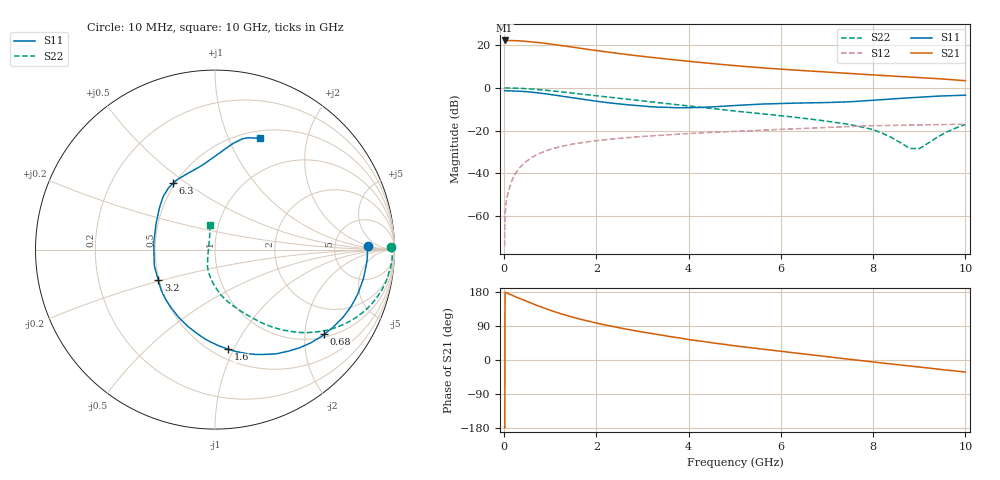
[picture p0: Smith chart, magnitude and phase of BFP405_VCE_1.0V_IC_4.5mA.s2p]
! (c) 2016  Infineon Technologies AG, Munich
! Infineon Technologies  Discrete & RF Semiconductors
! BFP405
! VCE =  1.0 V,  IC =  4.5 mA
! Common Emitter S-Parameters:  Jan 2016
# GHz  S  MA  R  50
!  f  S11  S21  S12  S22
! GHz  MAG  ANG  MAG  ANG  MAG  ANG  MAG  ANG
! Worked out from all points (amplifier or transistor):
!   233 points, 10 MHz to 10 GHz, reference 50 ohm
!   highest |S21| = 22.1 dB at 10 MHz (marker M1)
!   |S21| within 3 dB of that: start of sweep to 1.443 GHz
!   unconditionally stable (mu >= 1): start of sweep to 12.62 MHz; 3.383 GHz to end of sweep
!   at 200 MHz: K = 0.08, MSG = 31.9 dB, |S12| = -41.8 dB
!   at 1.74 GHz: K = 0.54, MSG = 21.8 dB, |S12| = -25.4 dB
!   at 10 GHz: K = 1.50, MAG = 6.0 dB, |S12| = -17.1 dB
!   S11 on the Smith chart (normalised r, x): 10 MHz: 12, +2; 680 MHz: 1.08, -2.51; 1.6 GHz: 0.59, -0.95; 3.2 GHz: 0.49, -0.19; 6.3 GHz: 0.49, +0.45; 10 GHz: 0.58, +1.31
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0.01  0.8505 1.3  12.69 -177.2  0.0002 43.4  0.9832 0.8
0.02  0.8497 -1.0  12.63 178.7  0.001 98.2  0.986 -0.3
0.055  0.8495 -3.4  12.59 177.4  0.0026 93.1  0.9883 -1.4
0.135  0.8453 -7.6  12.63 172.9  0.0055 86.1  0.9865 -4.0
0.26  0.8355 -14.8  12.56 166.2  0.0105 82.3  0.9758 -8.0
0.4  0.8212 -22.8  12.29 159.0  0.016 78.7  0.9631 -12.0
0.68  0.7703 -37.8  11.52 145.4  0.0262 70.9  0.9187 -19.9
0.9  0.7219 -49.3  10.85 135.3  0.0333 65.6  0.8748 -25.4
1.1  0.6742 -59.4  10.16 127.1  0.0391 61.2  0.832 -29.9
1.6  0.5588 -82.7  8.505 109.3  0.0507 52.3  0.7252 -39.3
1.68  0.5434 -86.1  8.257 106.8  0.0523 51.0  0.7093 -40.6
2  0.4846 -100.4  7.37 97.5  0.0581 46.8  0.6493 -45.2
2.4  0.4295 -117.9  6.457 87.2  0.0644 42.3  0.583 -50.1
3.2  0.3586 -151.9  5.103 70.0  0.0754 34.9  0.4689 -58.5
3.4  0.3509 -160.6  4.834 65.8  0.078 33.3  0.4427 -60.6
4  0.3431 174.4  4.142 54.0  0.0852 28.6  0.373 -67.1
5.1  0.3902 141.8  3.213 36.0  0.0969 20.8  0.2785 -79.0
6.3  0.437 122.1  2.584 18.8  0.1098 13.3  0.2046 -90.1
6.8  0.4462 113.3  2.387 11.6  0.1158 10.0  0.1764 -95.3
8.4  0.5461 86.3  1.875 -10.7  0.1323 -3.1  0.0688 -126.6
9  0.6014 80.2  1.724 -18.5  0.136 -7.7  0.0378 156.0
10  0.6689 68.1  1.458 -31.9  0.1402 -14.5  0.1388 101.7
